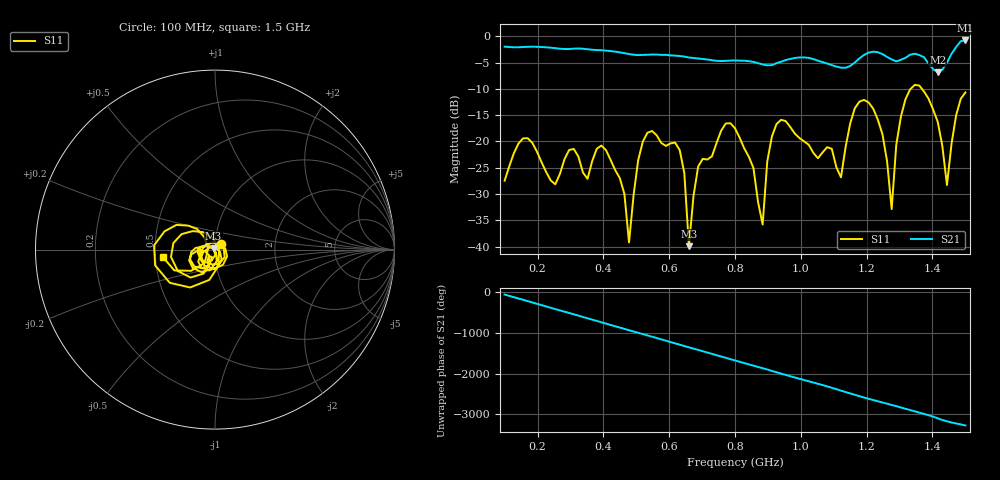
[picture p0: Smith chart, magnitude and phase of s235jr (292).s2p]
! NanoVNA-App
! Date: 2025-09-25 15:06:26
! Start: 100MHz Stop: 1,5GHz Points: 101
! S-Parameter data: F S11 S21 S12 S22
# Hz S RI R 50
!  Frequency  S11_Real  S11_Imag  S21_Real  S21_Imag  S12_Real  S12_Imag  S22_Real  S22_Imag
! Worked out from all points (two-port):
!   101 points, 100 MHz to 1.5 GHz, reference 50 ohm
!   highest |S21| = -0.79 dB at 1.5 GHz (marker M1); lowest = -6.9 dB at 1.416 GHz (marker M2)
!   |S21| within 3 dB of the highest: start of sweep to 637.3 MHz; 1.187 GHz to 1.258 GHz (71.81 MHz wide, 5.87 % of centre)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
!   lowest |S11| = -39.9 dB at 660 MHz (marker M3), VSWR 1.02, Z = 49.2 + j0.639 ohm
!   |S11| at or under -10 dB: start of sweep to 1.334 GHz; 1.368 GHz to end of sweep
!   S12 and S22 are empty: the file has one direction only
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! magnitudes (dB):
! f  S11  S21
! 100 MHz  -27.5  -2.0
! 156 MHz  -19.4  -2.0
! 338 MHz  -25.9  -2.4
! 408 MHz  -21.6  -2.7
! 478 MHz  -39.2  -3.4
! 520 MHz  -20.0  -3.5
! 576 MHz  -20.3  -3.5
! 632 MHz  -21.6  -3.7
! 660 MHz  -39.9  -4.0
! 688 MHz  -24.8  -4.2
! 800 MHz  -17.5  -4.6
! 884 MHz  -35.8  -5.4
! 926 MHz  -16.7  -5.1
! 1.038 GHz  -22.2  -4.3
! 1.122 GHz  -26.8  -6.0
! 1.206 GHz  -12.6  -3.1
! 1.276 GHz  -32.9  -4.4
! 1.29 GHz  -20.6  -4.8
! 1.332 GHz  -10.1  -3.5
! 1.416 GHz  -16.3  -6.9
! 1.444 GHz  -28.3  -5.0
! 1.5 GHz  -10.7  -0.8
